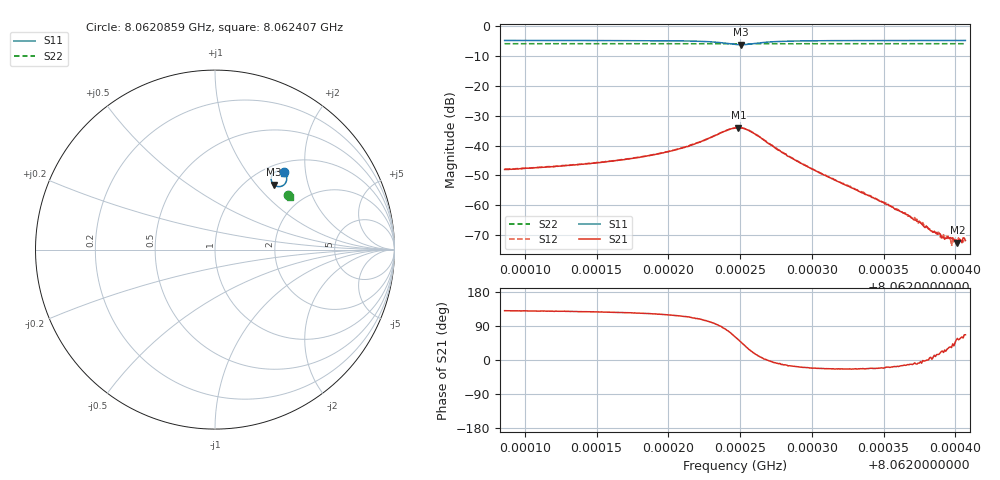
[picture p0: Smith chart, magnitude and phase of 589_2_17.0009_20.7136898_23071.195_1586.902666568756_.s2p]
#  HZ  S  RI  R  50.00
! Rohde & Schwarz Vector Network Analyzer
! Rohde-Schwarz,ZNB20-2Port,1311601062101988,3.16
! Created: UTC 3/20/2024, 11:18:27 PM
! freq[Hz]  re:S11  im:S11  re:S21  im:S21  re:S12  im:S12  re:S22  im:S22
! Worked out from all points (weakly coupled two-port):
!   401 points, 8.0620859 GHz to 8.062407 GHz, reference 50 ohm
!   highest |S21| = -34.02 dB at 8.0622489 GHz (marker M1); lowest = -72.6 dB at 8.0624014 GHz (marker M2)
!   lowest |S11| = -6.2 dB at 8.0622505 GHz (marker M3), VSWR 2.91, Z = 65.3 + j62 ohm
!   |S11| at or under -10 dB: nowhere
!   |S22| runs from -5.9 to -5.9 dB; largest |S21 - S12| = 0.0012
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8.0620859e9  0.383 0.4302  -0.00255 0.00303  -0.00238 0.00322  0.4059 0.3066
8.06213969e9  0.3885 0.4241  -0.00298 0.00384  -0.00276 0.00406  0.4078 0.3039
8.06216458e9  0.3917 0.4199  -0.00329 0.00457  -0.00302 0.00477  0.4088 0.3024
8.06219348e9  0.3964 0.4114  -0.00375 0.00626  -0.00339 0.00656  0.4099 0.3005
8.06221515e9  0.3995 0.397  -0.00389 0.00929  -0.00335 0.00952  0.4105 0.2989
8.06223442e9  0.3898 0.3667  -0.000777 0.0153  0.000161 0.0155  0.4102 0.2968
8.06224647e9  0.3466 0.352  0.00931 0.0172  0.0103 0.0168  0.4086 0.2962
8.06224887e9  0.3346 0.3564  0.0119 0.016  0.0128 0.0154  0.4081 0.2964
8.06225048e9  0.3273 0.3618  0.0132 0.0146  0.0142 0.0141  0.408 0.2965
8.06225771e9  0.3128 0.395  0.0156 0.00678  0.0162 0.006  0.408 0.2979
8.06226895e9  0.3293 0.4282  0.0111 -7.51e-05  0.0114 -0.000808  0.4095 0.2985
8.0622842e9  0.3516 0.4373  0.0063 -0.0017  0.00624 -0.00209  0.4113 0.298
8.06230026e9  0.3641 0.4369  0.00373 -0.00147  0.00368 -0.0017  0.4123 0.2969
8.06235405e9  0.3804 0.4308  0.000925 -0.000325  0.000909 -0.00038  0.4146 0.2941
8.06237171e9  0.383 0.4291  0.00056 -7.45e-05  0.000602 -0.000156  0.4153 0.2928
8.06237894e9  0.384 0.4285  0.00042 -1.63e-05  0.000462 -5.06e-05  0.4157 0.2927
8.06238536e9  0.3848 0.4279  0.000358 7.99e-05  0.000355 1.02e-05  0.4159 0.2923
8.06239178e9  0.3855 0.4276  0.000272 9.83e-05  0.000307 9.4e-05  0.4161 0.292
8.06239499e9  0.3859 0.4271  0.000257 0.000152  0.000261 9.6e-05  0.4162 0.2918
8.06239901e9  0.3863 0.4268  0.000216 0.000164  0.000194 0.000145  0.4164 0.2915
8.06240142e9  0.3866 0.4267  0.000128 0.000197  0.000164 0.000165  0.4162 0.2914
8.06240704e9  0.3872 0.4263  0.000102 0.000235  0.000126 0.000226  0.4167 0.2912
